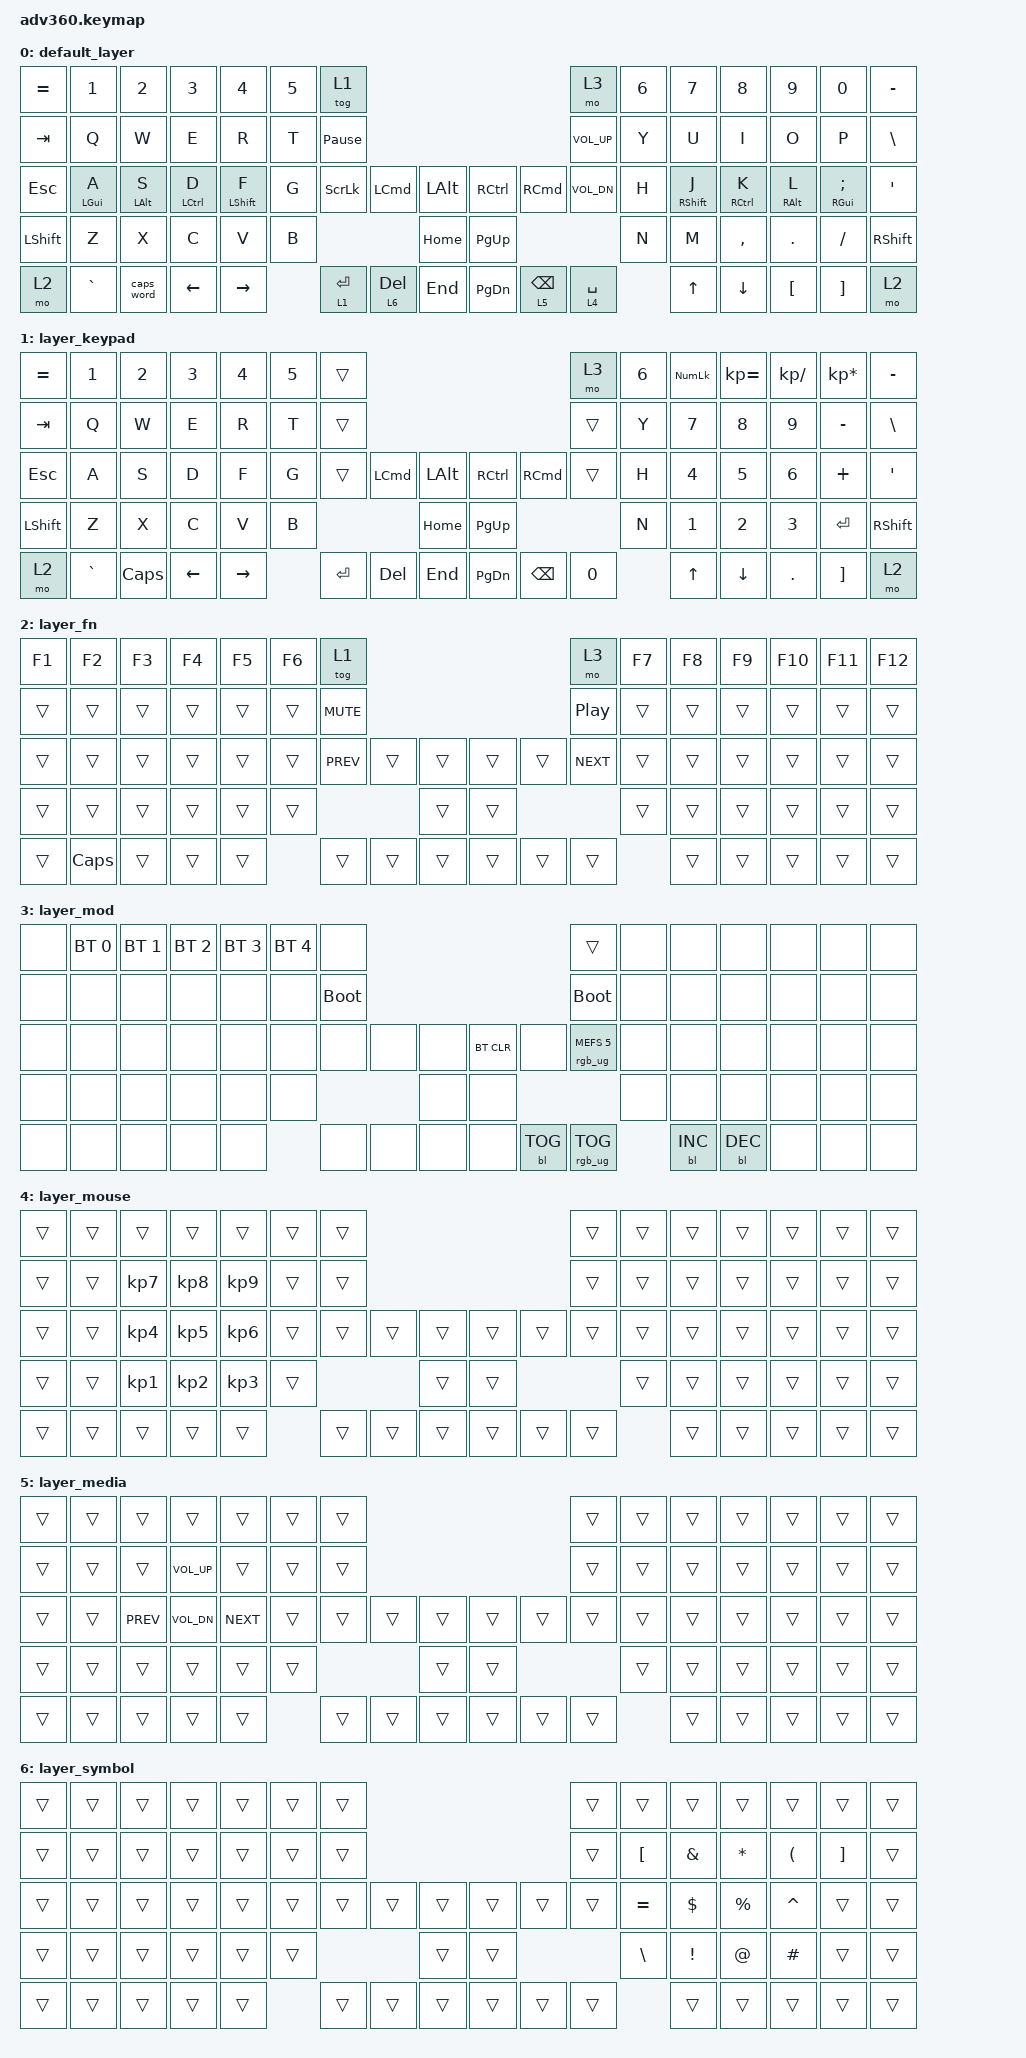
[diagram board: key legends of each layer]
/*
 * Copyright (c) 2020 The ZMK Contributors
 *
 * SPDX-License-Identifier: MIT
 */
/* THIS FILE WAS GENERATED!
 *
 * This file was generated automatically. You may or may not want to
 * edit it directly.
 */

#include <behaviors.dtsi>
#include <dt-bindings/zmk/backlight.h>
#include <dt-bindings/zmk/bt.h>
#include <dt-bindings/zmk/keys.h>
#include <dt-bindings/zmk/rgb.h>

/ {
    behaviors {
        #include "macros.dtsi"

        hm: homerow_mods {
            compatible = "zmk,behavior-hold-tap";
            label = "HOMEROW_MODS";
            #binding-cells = <2>;
            tapping-term-ms = <200>;
            quick_tap_ms = <150>;
            flavor = "tap-preferred";
            bindings =
                <&kp>,
                <&kp>;
        };
    };

    keymap {
        compatible = "zmk,keymap";

        default_layer {
            bindings = <
&kp EQUAL  &kp N1          &kp N2      &kp N3       &kp N4       &kp N5  &tog 1                                                                                 &mo 3         &kp N6  &kp N7       &kp N8       &kp N9      &kp N0              &kp MINUS
&kp TAB    &kp Q           &kp W       &kp E        &kp R        &kp T   &kp PAUSE_BREAK                                                                        &kp C_VOL_UP  &kp Y   &kp U        &kp I        &kp O       &kp P               &kp BSLH
&kp ESC    &hm LEFT_GUI A  &hm LALT S  &hm LCTRL D  &hm LSHFT F  &kp G   &kp SLCK         &kp LEFT_COMMAND  &kp LALT      &kp RIGHT_CONTROL  &kp RIGHT_COMMAND  &kp C_VOL_DN  &kp H   &hm RSHFT J  &hm RCTRL K  &hm RALT L  &hm RGUI SEMICOLON  &kp SQT
&kp LSHFT  &kp Z           &kp X       &kp C        &kp V        &kp B                                      &kp HOME      &kp PG_UP                                           &kp N   &kp M        &kp COMMA    &kp DOT     &kp FSLH            &kp RSHFT
&mo 2      &kp GRAVE       &caps_word  &kp LEFT     &kp RIGHT            &lt 1 ENTER      &lt 6 DELETE      &kp END       &kp PG_DN          &lt 5 BACKSPACE    &lt 4 SPACE           &kp UP       &kp DOWN     &kp LBKT    &kp RBKT            &mo 2
            >;
        };

        layer_keypad {
            bindings = <
&kp EQUAL  &kp N1     &kp N2    &kp N3    &kp N4     &kp N5  &trans                                                                           &mo 3   &kp N6  &kp KP_NUM  &kp KP_EQUAL  &kp KP_DIVIDE  &kp KP_MULTIPLY  &kp MINUS
&kp TAB    &kp Q      &kp W     &kp E     &kp R      &kp T   &trans                                                                           &trans  &kp Y   &kp N7      &kp N8        &kp N9         &kp MINUS        &kp BSLH
&kp ESC    &kp A      &kp S     &kp D     &kp F      &kp G   &trans     &kp LEFT_COMMAND  &kp LALT      &kp RIGHT_CONTROL  &kp RIGHT_COMMAND  &trans  &kp H   &kp N4      &kp N5        &kp N6         &kp PLUS         &kp SQT
&kp LSHFT  &kp Z      &kp X     &kp C     &kp V      &kp B                                &kp HOME      &kp PG_UP                                     &kp N   &kp N1      &kp N2        &kp N3         &kp ENTER        &kp RSHFT
&mo 2      &kp GRAVE  &kp CAPS  &kp LEFT  &kp RIGHT          &kp ENTER  &kp DEL           &kp END       &kp PG_DN          &kp BACKSPACE      &kp N0          &kp UP      &kp DOWN      &kp DOT        &kp RBKT         &mo 2
            >;
        };

        layer_fn {
            bindings = <
&kp F1  &kp F2    &kp F3  &kp F4  &kp F5  &kp F6  &tog 1                                          &mo 3             &kp F7  &kp F8  &kp F9  &kp F10  &kp F11  &kp F12
&trans  &trans    &trans  &trans  &trans  &trans  &kp C_MUTE                                      &kp C_PLAY_PAUSE  &trans  &trans  &trans  &trans   &trans   &trans
&trans  &trans    &trans  &trans  &trans  &trans  &kp C_PREV  &trans  &trans      &trans  &trans  &kp C_NEXT        &trans  &trans  &trans  &trans   &trans   &trans
&trans  &trans    &trans  &trans  &trans  &trans                      &trans      &trans                            &trans  &trans  &trans  &trans   &trans   &trans
&trans  &kp CAPS  &trans  &trans  &trans          &trans      &trans  &trans      &trans  &trans  &trans                    &trans  &trans  &trans   &trans   &trans
            >;
        };

        layer_mod {
            bindings = <
&none  &bt BT_SEL 0  &bt BT_SEL 1  &bt BT_SEL 2  &bt BT_SEL 3  &bt BT_SEL 4  &none                                                  &trans                  &none  &none       &none       &none  &none  &none
&none  &none         &none         &none         &none         &none         &bootloader                                            &bootloader             &none  &none       &none       &none  &none  &none
&none  &none         &none         &none         &none         &none         &none        &none  &none      &bt BT_CLR  &none       &rgb_ug RGB_MEFS_CMD 5  &none  &none       &none       &none  &none  &none
&none  &none         &none         &none         &none         &none                             &none      &none                                           &none  &none       &none       &none  &none  &none
&none  &none         &none         &none         &none                       &none        &none  &none      &none       &bl BL_TOG  &rgb_ug RGB_TOG                &bl BL_INC  &bl BL_DEC  &none  &none  &none
            >;
        };

        layer_mouse {
            bindings = <
&trans  &trans  &trans     &trans     &trans     &trans  &trans                                      &trans  &trans  &trans  &trans  &trans  &trans  &trans
&trans  &trans  &kp KP_N7  &kp KP_N8  &kp KP_N9  &trans  &trans                                      &trans  &trans  &trans  &trans  &trans  &trans  &trans
&trans  &trans  &kp KP_N4  &kp KP_N5  &kp KP_N6  &trans  &trans  &trans  &trans      &trans  &trans  &trans  &trans  &trans  &trans  &trans  &trans  &trans
&trans  &trans  &kp KP_N1  &kp KP_N2  &kp KP_N3  &trans                  &trans      &trans                  &trans  &trans  &trans  &trans  &trans  &trans
&trans  &trans  &trans     &trans     &trans             &trans  &trans  &trans      &trans  &trans  &trans          &trans  &trans  &trans  &trans  &trans
            >;
        };

        layer_media {
            bindings = <
&trans  &trans  &trans      &trans        &trans      &trans  &trans                                      &trans  &trans  &trans  &trans  &trans  &trans  &trans
&trans  &trans  &trans      &kp C_VOL_UP  &trans      &trans  &trans                                      &trans  &trans  &trans  &trans  &trans  &trans  &trans
&trans  &trans  &kp C_PREV  &kp C_VOL_DN  &kp C_NEXT  &trans  &trans  &trans  &trans      &trans  &trans  &trans  &trans  &trans  &trans  &trans  &trans  &trans
&trans  &trans  &trans      &trans        &trans      &trans                  &trans      &trans                  &trans  &trans  &trans  &trans  &trans  &trans
&trans  &trans  &trans      &trans        &trans              &trans  &trans  &trans      &trans  &trans  &trans          &trans  &trans  &trans  &trans  &trans
            >;
        };

        layer_symbol {
            bindings = <
&trans  &trans  &trans  &trans  &trans  &trans  &trans                                      &trans  &trans            &trans           &trans        &trans                &trans             &trans
&trans  &trans  &trans  &trans  &trans  &trans  &trans                                      &trans  &kp LEFT_BRACKET  &kp AMPERSAND    &kp ASTERISK  &kp LEFT_PARENTHESIS  &kp RIGHT_BRACKET  &trans
&trans  &trans  &trans  &trans  &trans  &trans  &trans  &trans  &trans      &trans  &trans  &trans  &kp EQUAL         &kp DOLLAR       &kp PERCENT   &kp CARET             &trans             &trans
&trans  &trans  &trans  &trans  &trans  &trans                  &trans      &trans                  &kp BACKSLASH     &kp EXCLAMATION  &kp AT_SIGN   &kp POUND             &trans             &trans
&trans  &trans  &trans  &trans  &trans          &trans  &trans  &trans      &trans  &trans  &trans                    &trans           &trans        &trans                &trans             &trans
            >;
        };
    };
};
